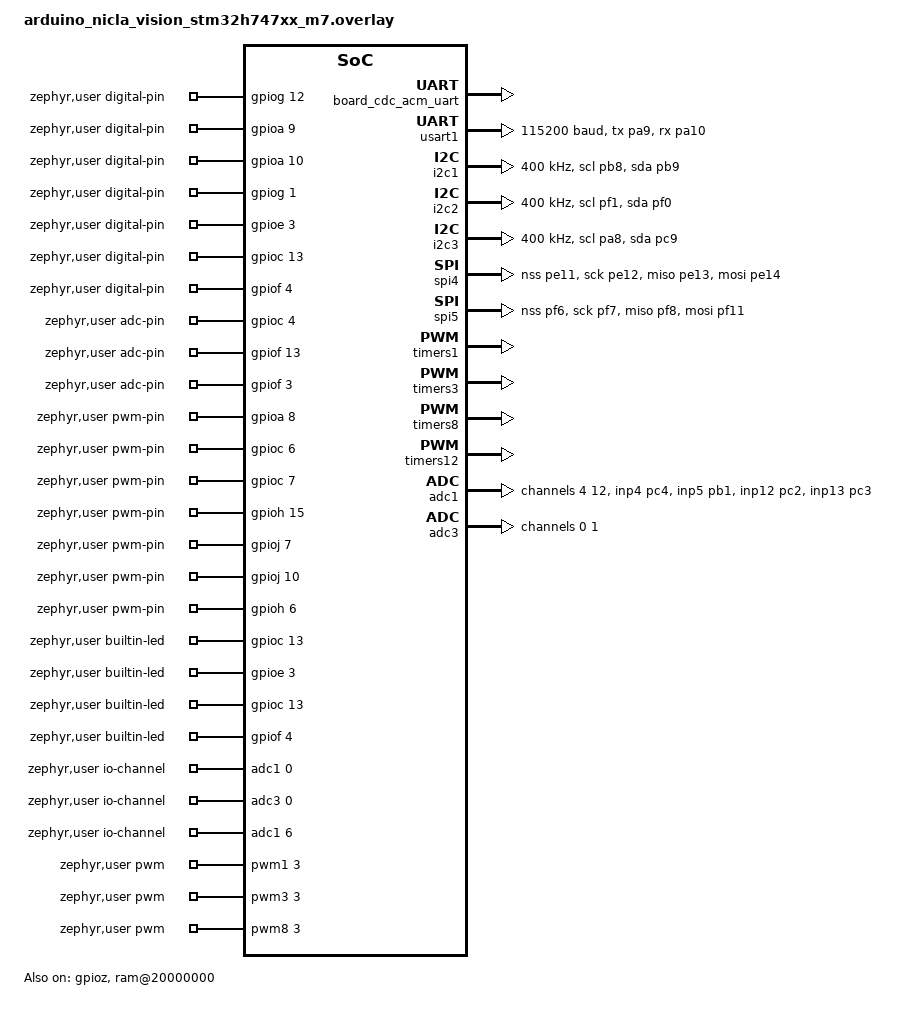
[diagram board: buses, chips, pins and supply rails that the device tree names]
&zephyr_udc0 {
    board_cdc_acm_uart: board_cdc_acm_uart {
        compatible = "zephyr,cdc-acm-uart";
        status = "okay";
    };
};

&usart1 {
    status = "okay";
    pinctrl-0 = <&usart1_tx_pa9 &usart1_rx_pa10>;
    pinctrl-names = "default";
    current-speed = <115200>;
};

&i2c1 {
    status = "okay";
    pinctrl-0 = <&i2c1_scl_pb8 &i2c1_sda_pb9>;
    pinctrl-names = "default";
    clock-frequency = <I2C_BITRATE_FAST>;
};

&i2c2 {
    status = "okay";
    pinctrl-0 = <&i2c2_scl_pf1 &i2c2_sda_pf0>;
    pinctrl-names = "default";
    clock-frequency = <I2C_BITRATE_FAST>;
};

&i2c3 {
    status = "okay";
    pinctrl-0 = <&i2c3_scl_pa8 &i2c3_sda_pc9>;
    pinctrl-names = "default";
    clock-frequency = <I2C_BITRATE_FAST>;
};

&spi4 {
	status = "okay";
	pinctrl-0 = <&spi4_nss_pe11 &spi4_sck_pe12 &spi4_miso_pe13 &spi4_mosi_pe14>;
	pinctrl-names = "default";
};

&spi5 {
    status = "okay";
    pinctrl-0 = <&spi5_nss_pf6 &spi5_sck_pf7 &spi5_miso_pf8 &spi5_mosi_pf11>;
    pinctrl-names = "default";
};

/*
&i2s3 {
    status = "okay";
    clocks = <&rcc 0xe8 0x8000>,
             <&rcc 0x9 0x1cc0050>;
    dma-names = "tx", "rx";
    interrupts = <0x33 0x0>;

    pinctrl-0 = <&i2s3_pins>;

    pinctrl-names = "default";

    i2s3_pins: i2s3-pins {
        pinmux = <0x07>,  // Replace with the actual pinmux number for PA15 at some point (I2S3_WS)
                 <0x08>,  // Replace with the actual pinmux number for PB2 at some point(I2S3_SD0)
                 <0x09>,  // Replace with the actual pinmux number for PC10 at some point(I2S3_CK)
                 <0x0A>;  // Replace with the actual pinmux number for PC11 at some point(I2S3_SD1)
    };
};
*/

&timers1 {
    status = "okay";
    st,prescaler = <0>;

    pwm1: pwm {
        status = "okay";
        pinctrl-0 = <&tim1_ch3_pj9 &tim1_ch1_pk1>;
        pinctrl-names = "default";
    };
};

&timers3 {
    status = "okay";
    st,prescaler = <100>;

    pwm3: pwm {
        status = "okay";
        pinctrl-0 = <&tim3_ch1_pc6 &tim3_ch2_pc7>;
        pinctrl-names = "default";
    };
};

&timers8 {
    status = "okay";
    st,prescaler = <100>;

    pwm8: pwm {
        status = "okay";
        pinctrl-0 = <&tim8_ch3n_ph15 &tim8_ch2_pj10 &tim8_ch2n_pj7>;
        pinctrl-names = "default";
    };
};

&timers12 {
    status = "okay";
    st,prescaler = <100>;

    pwm12: pwm {
        status = "okay";
        pinctrl-0 = <&tim12_ch1_ph6>;
        pinctrl-names = "default";
    };
};

&adc1 {
    pinctrl-0 = <&adc1_inp4_pc4 &adc1_inp5_pb1 &adc1_inp12_pc2 &adc1_inp13_pc3>;
    pinctrl-names = "default";
    st,adc-clock-source = "SYNC";
    st,adc-prescaler = <4>;
    status = "okay";

    #address-cells = <1>;
    #size-cells = <0>;

    channel@4 {
        reg = <4>;
        zephyr,gain = "ADC_GAIN_1";
        zephyr,reference = "ADC_REF_INTERNAL";
        zephyr,acquisition-time = <ADC_ACQ_TIME_MAX>;
        zephyr,resolution = <16>;
    };

    channel@12 {
        reg = <12>;
        zephyr,gain = "ADC_GAIN_1";
        zephyr,reference = "ADC_REF_INTERNAL";
        zephyr,acquisition-time = <ADC_ACQ_TIME_MAX>;
        zephyr,resolution = <16>;
    };
};

&adc3 {
    pinctrl-0 = <&adc3_inp0_pc2_c &adc3_inp1_pc3_c>;
    pinctrl-names = "default";
    st,adc-clock-source = "SYNC";
    st,adc-prescaler = <4>;
    status = "okay";

    #address-cells = <1>;
    #size-cells = <0>;

    channel@0 {
        reg = <0>;
        zephyr,gain = "ADC_GAIN_1";
        zephyr,reference = "ADC_REF_INTERNAL";
        zephyr,acquisition-time = <ADC_ACQ_TIME_MAX>;
        zephyr,resolution = <16>;
    };
    channel@1 {
        reg = <1>;
        zephyr,gain = "ADC_GAIN_1";
        zephyr,reference = "ADC_REF_INTERNAL";
        zephyr,acquisition-time = <ADC_ACQ_TIME_MAX>;
        zephyr,resolution = <16>;
    };
};

/ {
    chosen {
        zephyr,console = &board_cdc_acm_uart;
        /*zephyr,console = &usart1;*/
        zephyr,shell-uart = &usart1;
        /*zephyr,cdc-acm-uart0 = &usart1;*/
    };

    
    gpioz: gpio@deadbeef {
        compatible = "vnd,gpio";
        gpio-controller;
        reg = <0xdeadbeef 0x1000>;
        #gpio-cells = <0x2>;
        status = "okay";
    };
};

/ {
    soc {
        flash-controller@52002000 {
            flash0: flash@8000000 {
                /delete-node/ partitions;
                compatible = "st,stm32-nv-flash", "soc-nv-flash";
                write-block-size = <32>;
                erase-block-size = <DT_SIZE_K(128)>;
                /* maximum erase time for a 128K sector */
                max-erase-time = <4000>;

                reg = <0x08000000 DT_SIZE_K(1024)>;
                status = "okay";

                partitions {
                    compatible = "fixed-partitions";
                    #address-cells = <1>;
                    #size-cells = <1>;

                    boot_partition: partition@0 {
                            label = "mcuboot";
                            reg = <0x00000000 0x00040000>;
                            read-only;
                    };

                    slot0_partition: partition@40000 {
                            label = "image-0";
                            reg = <0x00040000 0x000A0000>;
                    };

                    user_sketch: partition@e0000 {
                        reg = <0x0E0000 0x20000>;
                    };
                };
            };
        };

        ram@20000000 {
            reg = <0x20000000 0x20000>;  /* SRAM1, 128KB */
            compatible = "st,stm32h747-sram";
            status = "okay";
        };
    };


    zephyr,user {
        digital-pin-gpios = <&gpiog 12 0>,   /* D0 PG_12 */
                            <&gpioa 9 0>,    /* D1 PA_9 */
                            <&gpioa 10 0>,   /* D2 PA_10 */
                            <&gpiog 1 0>,    /* D3 PG_1 */
                            <&gpioe 3 0>,    /* Red LED PE_3 */
                            <&gpioc 13 0>,   /* Green LED PC_13 */
                            <&gpiof 4 0>;    /* Blue LED PF_4 */

        adc-pin-gpios = <&gpioc 4 0>,  /* A0 PC_4 */
                        <&gpiof 13 0>, /* A1 PF_13 */
                        <&gpiof 3 0>;  /* A2 PF_3 */

        pwm-pin-gpios = <&gpioa 8 0>,
                        <&gpioc 6 0>,
                        <&gpioc 7 0>,
                        <&gpioh 15 0>,
                        <&gpioj 7 0>,
                        <&gpioj 10 0>,
                        <&gpioh 6 0>;

        serials = <&board_cdc_acm_uart>, <&usart1>;
        cdc-acm = <&board_cdc_acm_uart>;

        i2cs = <&i2c1>, <&i2c2>, <&i2c3>;
        spis = <&spi4>;

        io-channels = <&adc1 0>,
                      <&adc3 0>,
                      <&adc1 6>;

        builtin-led-gpios = <&gpioc 13 0>, /* Green LED PC_13 */  /* LED_BUILTIN macro is defined as first builtin-led-gpios */
                            <&gpioe 3 0>,  /* Red LED PE_3 */
                            <&gpioc 13 0>, /* Green LED PC_13 */ 
                            <&gpiof 4 0>;  /* Blue LED PF_4 */                 

        pwms =  <&pwm1 3 PWM_HZ(12000000) PWM_POLARITY_NORMAL>,
                <&pwm3 3 PWM_HZ(12000000) PWM_POLARITY_NORMAL>,
                <&pwm8 3 PWM_HZ(12000000) PWM_POLARITY_NORMAL>;
    };
};

/* Include common flash filesystem configuration */
qspi_flash: &n25q128a1 {};
#include "../common/arduino_flash_fs.dtsi"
